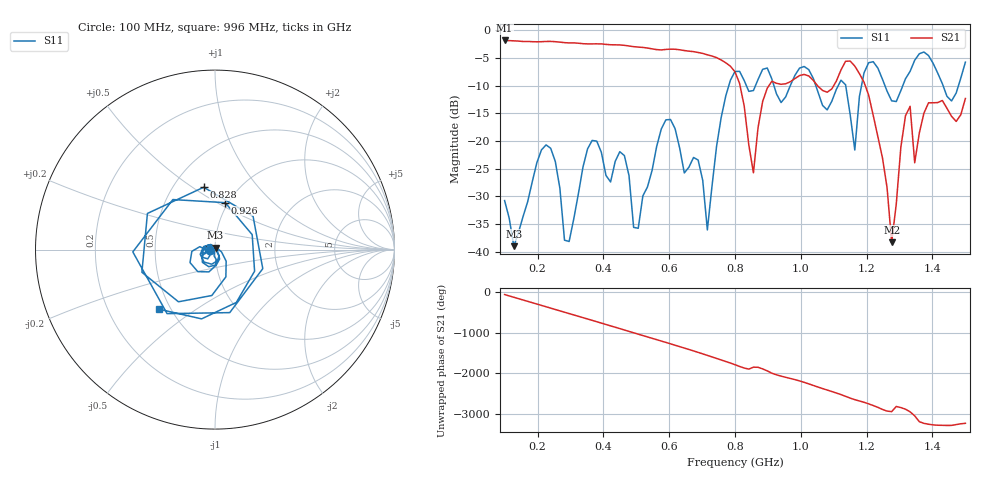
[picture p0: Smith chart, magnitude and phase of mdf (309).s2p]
! NanoVNA-App
! Date: 2025-09-25 15:40:50
! Start: 100MHz Stop: 1,5GHz Points: 101
! S-Parameter data: F S11 S21 S12 S22
# Hz S RI R 50
!  Frequency  S11_Real  S11_Imag  S21_Real  S21_Imag  S12_Real  S12_Imag  S22_Real  S22_Imag
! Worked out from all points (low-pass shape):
!   101 points, 100 MHz to 1.5 GHz, reference 50 ohm
!   highest |S21| = -1.80 dB at 100 MHz (marker M1); lowest = -38.3 dB at 1.276 GHz (marker M2)
!   |S21| within 3 dB of the highest: start of sweep to 739 MHz
!   lowest |S11| = -39.0 dB at 128 MHz (marker M3), VSWR 1.02, Z = 50.3 + j1.08 ohm
!   |S11| at or under -10 dB: start of sweep to 781 MHz; 1.046 GHz to 1.113 GHz (67.75 MHz wide, 6.28 % of centre); 1.256 GHz to 1.31 GHz (53.89 MHz wide, 4.2 % of centre) (the widest 3 of 7)
!   S12 and S22 are empty: the file has one direction only
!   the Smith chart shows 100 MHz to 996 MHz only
!   S11 on the Smith chart (normalised r, x): 100 MHz: 0.94, -0.01; 828 MHz: 0.70, +0.56; 926 MHz: 0.97, +0.55; 996 MHz: 0.43, -0.36
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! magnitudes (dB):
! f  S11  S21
! 100 MHz  -30.7  -1.8
! 128 MHz  -39.0  -1.9
! 212 MHz  -21.6  -2.0
! 282 MHz  -37.9  -2.2
! 338 MHz  -24.7  -2.4
! 464 MHz  -22.6  -2.7
! 506 MHz  -35.7  -3.0
! 576 MHz  -17.8  -3.5
! 688 MHz  -23.4  -4.0
! 716 MHz  -36.0  -4.4
! 800 MHz  -7.4  -7.5
! 828 MHz  -9.0  -13.7
! 856 MHz  -10.9  -25.7
! 926 MHz  -11.4  -9.5
! 996 MHz  -6.8  -8.2
! 1.038 GHz  -8.7  -9.0
! 1.164 GHz  -21.6  -6.4
! 1.192 GHz  -7.7  -9.3
! 1.276 GHz  -12.7  -38.3
! 1.332 GHz  -7.4  -13.7
! 1.346 GHz  -5.4  -23.9
! 1.5 GHz  -5.7  -12.3
